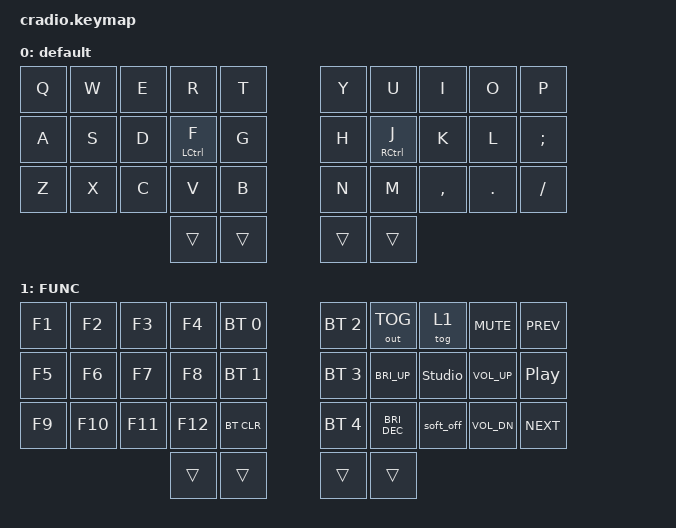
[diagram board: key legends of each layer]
// Copyright (c) 2022 The ZMK Contributors
// SPDX-License-Identifier: MIT

#define ZMK_POINTING_DEFAULT_MOVE_VAL 2500  // 600
#define ZMK_POINTING_DEFAULT_SCRL_VAL 20    // 10

#include "behaviors/character_map.dtsi"
#include "behaviors/send_string.dtsi"
#include "behaviors/report.dtsi"
#include <behaviors.dtsi>
#include <dt-bindings/zmk/bt.h>
#include <dt-bindings/zmk/keys.h>
#include <dt-bindings/zmk/outputs.h>

#define MAC 0
#define WIN 1
#define RIG 2
#define LEF 3
#define TRI 4
#define MOUSE 5

// https://zmk.dev/docs/development/hardware-integration/soft-off-setup?advanced-methods=wakeup&kscan-type=dkscan

/ {
    keys {
        compatible = "gpio-keys";

        soft_off_gpio_key: soft_off_gpio_key { gpios = <&gpio1 6 (GPIO_ACTIVE_LOW | GPIO_PULL_UP)>; };
    };

    wakeup_scan: wakeup_scan {
        compatible = "zmk,kscan-gpio-direct";
        input-keys = <&soft_off_gpio_key>;
        wakeup-source;
    };

    side_band_behavior_triggers: side_band_behavior_triggers {
        compatible = "zmk,kscan-sideband-behaviors";
        kscan = <&wakeup_scan>;
        auto-enable;
        wakeup-source;
    };

    soft_off_wakers {
        compatible = "zmk,soft-off-wakeup-sources";
        wakeup-sources = <&wakeup_scan>;
    };
};

/ {
    vbatt: vbatt { compatible = "zmk,battery-nrf-vddh"; };

    chosen {
        zmk,charmap = &charmap_us;
        zmk,battery = &vbatt;
    };

    behaviors {
        hrm_L: hrm_L {
            compatible = "zmk,behavior-hold-tap";
            label = "HRM_L";
            bindings = <&kp>, <&kp>;

            #binding-cells = <2>;
            tapping-term-ms = <250>;
            quick-tap-ms = <175>;
            require-prior-idle-ms = <200>;
            flavor = "balanced";
            hold-trigger-key-positions = <5 6 7 8 9 15 16 17 18 19 25 26 27 28 29 32 33 30 31>;
            hold-trigger-on-release;
        };

        hrm_R: hrm_R {
            compatible = "zmk,behavior-hold-tap";
            label = "HRM_R";
            bindings = <&kp>, <&kp>;

            #binding-cells = <2>;
            tapping-term-ms = <250>;
            quick-tap-ms = <175>;
            require-prior-idle-ms = <200>;
            flavor = "balanced";
            hold-trigger-on-release;
            hold-trigger-key-positions = <0 1 2 3 4 10 11 12 13 14 20 21 22 23 24 30 31 32 33>;
        };

        mmv {
            acceleration-exponent = <1>;      // 1
            time-to-max-speed-ms = <300>;    // 40
            delay-ms = <0>;                   // 0
        };

        msc {
            acceleration-exponent = <0>;      // 0
            time-to-max-speed-ms = <40>;      // 500
            delay-ms = <0>;                   // 10
        };
    };

    conditional_layers {
        compatible = "zmk,conditional-layers";

        tri_layer {
            if-layers = <1 1>;
            then-layer = <1>;
        };
    };

    keymap {
        compatible = "zmk,keymap";

        default {
            bindings = <
&kp Q  &kp W  &kp E  &kp R                  &kp T     &kp Y   &kp U                   &kp I      &kp O    &kp P
&kp A  &kp S  &kp D  &hrm_L LEFT_CONTROL F  &kp G     &kp H   &hrm_R RIGHT_CONTROL J  &kp K      &kp L    &kp SEMI
&kp Z  &kp X  &kp C  &kp V                  &kp B     &kp N   &kp M                   &kp COMMA  &kp DOT  &kp FSLH
                     &trans                 &trans    &trans  &trans
            >;

            label = "default";
        };

        tri_layer {
            display-name = "FUNC";
            bindings = <
&kp F1  &kp F2   &kp F3   &kp F4   &bt BT_SEL 0    &bt BT_SEL 2  &out OUT_TOG   &tog 1          &kp C_MUTE    &kp C_PREV
&kp F5  &kp F6   &kp F7   &kp F8   &bt BT_SEL 1    &bt BT_SEL 3  &kp C_BRI_UP   &studio_unlock  &kp C_VOL_UP  &kp C_PP
&kp F9  &kp F10  &kp F11  &kp F12  &bt BT_CLR      &bt BT_SEL 4  &kp C_BRI_DEC  &soft_off       &kp C_VOL_DN  &kp C_NEXT
                          &trans   &trans          &trans        &trans
            >;
        };
    };
};
